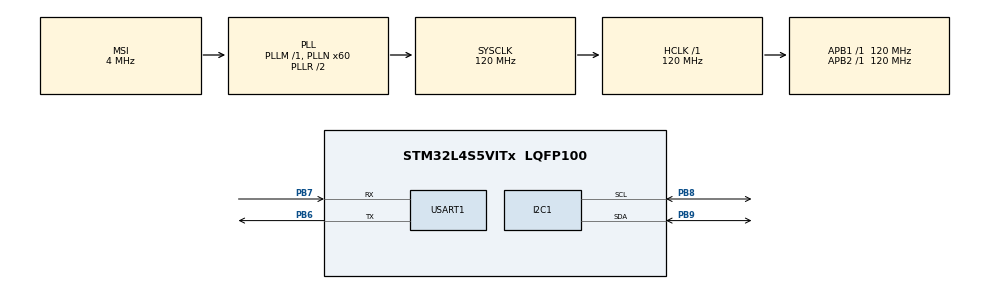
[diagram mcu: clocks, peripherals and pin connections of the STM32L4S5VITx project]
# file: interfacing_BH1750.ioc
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I2C1.Timing=0x30A175AB
Mcu.Family=STM32L4
Mcu.Name=STM32L4S5VITx
Mcu.Package=LQFP100
NVIC.PriorityGroup=NVIC_PRIORITYGROUP_4
PB6.Mode=Asynchronous
PB6.Signal=USART1_TX
PB7.Mode=Asynchronous
PB7.Signal=USART1_RX
PB8.Mode=I2C
PB8.Signal=I2C1_SCL
PB9.Mode=I2C
PB9.Signal=I2C1_SDA
ProjectManager.HeapSize=0x200
ProjectManager.StackSize=0x400
ProjectManager.TargetToolchain=STM32CubeIDE
RCC.ADCFreq_Value=48000000
RCC.AHBFreq_Value=120000000
RCC.APB1Freq_Value=120000000
RCC.APB1TimFreq_Value=120000000
RCC.APB2Freq_Value=120000000
RCC.APB2TimFreq_Value=120000000
RCC.CortexFreq_Value=120000000
RCC.HCLKFreq_Value=120000000
RCC.HSE_VALUE=8000000
RCC.HSI48_VALUE=48000000
RCC.HSI_VALUE=16000000
RCC.MSI_VALUE=4000000
RCC.PLLN=60
RCC.PLLSAI1N=24
RCC.SYSCLKFreq_VALUE=120000000
RCC.SYSCLKSource=RCC_SYSCLKSOURCE_PLLCLK
RCC.USBFreq_Value=48000000
RCC.VCOOutputFreq_Value=240000000
USART1.VirtualMode-Asynchronous=VM_ASYNC
board=B-L4S5I-IOT01A

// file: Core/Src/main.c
/* USER CODE BEGIN Header */
/**
  ******************************************************************************
  * @file           : main.c
  * @brief          : Main program body
  ******************************************************************************
  * @attention
  *
  * Copyright (c) 2026 STMicroelectronics.
  * All rights reserved.
  *
  * This software is licensed under terms that can be found in the LICENSE file
  * in the root directory of this software component.
  * If no LICENSE file comes with this software, it is provided AS-IS.
  *
  ******************************************************************************
  */
/* USER CODE END Header */
#include "main.h"

/* USER CODE BEGIN Includes */
#include  "BH1750.h"
#include "stdio.h"
#include "string.h"
/* USER CODE END Includes */

/* USER CODE BEGIN PM */
#define DATA_INPUT_USER 1
#define AXIS_NUMBER 1
/* USER CODE END PM */

I2C_HandleTypeDef hi2c1;

UART_HandleTypeDef huart1;

/* USER CODE BEGIN PV */
float light;
float light_buffer[DATA_INPUT_USER*AXIS_NUMBER]={0};
/* USER CODE END PV */

void SystemClock_Config(void);
static void MX_GPIO_Init(void);
static void MX_I2C1_Init(void);
static void MX_USART1_UART_Init(void);
/* USER CODE BEGIN PFP */
void fill_light_buffer();
void LOG();
/* USER CODE END PFP */

int main(void)
{

  /* MCU Configuration--------------------------------------------------------*/

  /* Reset of all peripherals, Initializes the Flash interface and the Systick. */
  HAL_Init();

  /* Configure the system clock */
  SystemClock_Config();

  /* Initialize all configured peripherals */
  MX_GPIO_Init();
  MX_I2C1_Init();
  MX_USART1_UART_Init();
  /* USER CODE BEGIN 2 */

   BH1750_Init(&hi2c1);
  /* USER CODE END 2 */

  /* Infinite loop */
  while (1)
  {

    /* USER CODE BEGIN 3 */

	  LOG();
  }
  /* USER CODE END 3 */
}

void SystemClock_Config(void)
{
  RCC_OscInitTypeDef RCC_OscInitStruct = {0};
  RCC_ClkInitTypeDef RCC_ClkInitStruct = {0};

  /** Configure the main internal regulator output voltage
  */
  if (HAL_PWREx_ControlVoltageScaling(PWR_REGULATOR_VOLTAGE_SCALE1_BOOST) != HAL_OK)
  {
    Error_Handler();
  }

  /** Initializes the RCC Oscillators according to the specified parameters
  * in the RCC_OscInitTypeDef structure.
  */
  RCC_OscInitStruct.OscillatorType = RCC_OSCILLATORTYPE_MSI;
  RCC_OscInitStruct.MSIState = RCC_MSI_ON;
  RCC_OscInitStruct.MSICalibrationValue = 0;
  RCC_OscInitStruct.MSIClockRange = RCC_MSIRANGE_6;
  RCC_OscInitStruct.PLL.PLLState = RCC_PLL_ON;
  RCC_OscInitStruct.PLL.PLLSource = RCC_PLLSOURCE_MSI;
  RCC_OscInitStruct.PLL.PLLM = 1;
  RCC_OscInitStruct.PLL.PLLN = 60;
  RCC_OscInitStruct.PLL.PLLP = RCC_PLLP_DIV2;
  RCC_OscInitStruct.PLL.PLLQ = RCC_PLLQ_DIV2;
  RCC_OscInitStruct.PLL.PLLR = RCC_PLLR_DIV2;
  if (HAL_RCC_OscConfig(&RCC_OscInitStruct) != HAL_OK)
  {
    Error_Handler();
  }

  /** Initializes the CPU, AHB and APB buses clocks
  */
  RCC_ClkInitStruct.ClockType = RCC_CLOCKTYPE_HCLK|RCC_CLOCKTYPE_SYSCLK
                              |RCC_CLOCKTYPE_PCLK1|RCC_CLOCKTYPE_PCLK2;
  RCC_ClkInitStruct.SYSCLKSource = RCC_SYSCLKSOURCE_PLLCLK;
  RCC_ClkInitStruct.AHBCLKDivider = RCC_SYSCLK_DIV1;
  RCC_ClkInitStruct.APB1CLKDivider = RCC_HCLK_DIV1;
  RCC_ClkInitStruct.APB2CLKDivider = RCC_HCLK_DIV1;

  if (HAL_RCC_ClockConfig(&RCC_ClkInitStruct, FLASH_LATENCY_5) != HAL_OK)
  {
    Error_Handler();
  }
}

static void MX_I2C1_Init(void)
{

  hi2c1.Instance = I2C1;
  hi2c1.Init.Timing = 0x30A175AB;
  hi2c1.Init.OwnAddress1 = 0;
  hi2c1.Init.AddressingMode = I2C_ADDRESSINGMODE_7BIT;
  hi2c1.Init.DualAddressMode = I2C_DUALADDRESS_DISABLE;
  hi2c1.Init.OwnAddress2 = 0;
  hi2c1.Init.OwnAddress2Masks = I2C_OA2_NOMASK;
  hi2c1.Init.GeneralCallMode = I2C_GENERALCALL_DISABLE;
  hi2c1.Init.NoStretchMode = I2C_NOSTRETCH_DISABLE;
  if (HAL_I2C_Init(&hi2c1) != HAL_OK)
  {
    Error_Handler();
  }

  /** Configure Analogue filter
  */
  if (HAL_I2CEx_ConfigAnalogFilter(&hi2c1, I2C_ANALOGFILTER_ENABLE) != HAL_OK)
  {
    Error_Handler();
  }

  /** Configure Digital filter
  */
  if (HAL_I2CEx_ConfigDigitalFilter(&hi2c1, 0) != HAL_OK)
  {
    Error_Handler();
  }

}

static void MX_USART1_UART_Init(void)
{

  huart1.Instance = USART1;
  huart1.Init.BaudRate = 115200;
  huart1.Init.WordLength = UART_WORDLENGTH_8B;
  huart1.Init.StopBits = UART_STOPBITS_1;
  huart1.Init.Parity = UART_PARITY_NONE;
  huart1.Init.Mode = UART_MODE_TX_RX;
  huart1.Init.HwFlowCtl = UART_HWCONTROL_NONE;
  huart1.Init.OverSampling = UART_OVERSAMPLING_16;
  huart1.Init.OneBitSampling = UART_ONE_BIT_SAMPLE_DISABLE;
  huart1.Init.ClockPrescaler = UART_PRESCALER_DIV1;
  huart1.AdvancedInit.AdvFeatureInit = UART_ADVFEATURE_NO_INIT;
  if (HAL_UART_Init(&huart1) != HAL_OK)
  {
    Error_Handler();
  }
  if (HAL_UARTEx_SetTxFifoThreshold(&huart1, UART_TXFIFO_THRESHOLD_1_8) != HAL_OK)
  {
    Error_Handler();
  }
  if (HAL_UARTEx_SetRxFifoThreshold(&huart1, UART_RXFIFO_THRESHOLD_1_8) != HAL_OK)
  {
    Error_Handler();
  }
  if (HAL_UARTEx_DisableFifoMode(&huart1) != HAL_OK)
  {
    Error_Handler();
  }

}

static void MX_GPIO_Init(void)
{

  /* GPIO Ports Clock Enable */
  __HAL_RCC_GPIOB_CLK_ENABLE();

}

/* USER CODE BEGIN 4 */
int _write(int file, char *ptr,int len)
{
	  HAL_UART_Transmit(&huart1,(uint8_t *)ptr, len, HAL_MAX_DELAY);
	  return len;
}
void fill_light_buffer()
{
for(int i=0; i<DATA_INPUT_USER;i++)
{

light=BH1750_ReadLux(&hi2c1);
light_buffer[AXIS_NUMBER *i] =light;
HAL_Delay(3);
}
}

/* USER CODE END 4 */

void LOG()

{
fill_light_buffer();
for(int i=0; i<DATA_INPUT_USER;i++)
{
	printf("%2f",light_buffer[AXIS_NUMBER *i]);
	printf("");
}
 printf("\r\n");
}

  /* USER CODE BEGIN Error_Handler_Debug */
  /* User can add his own implementation to report the HAL error return state */
void Error_Handler(void)
{
  __disable_irq();
  while(1)
  {
  }
  /* USER CODE END Error_Handler_Debug */
}
